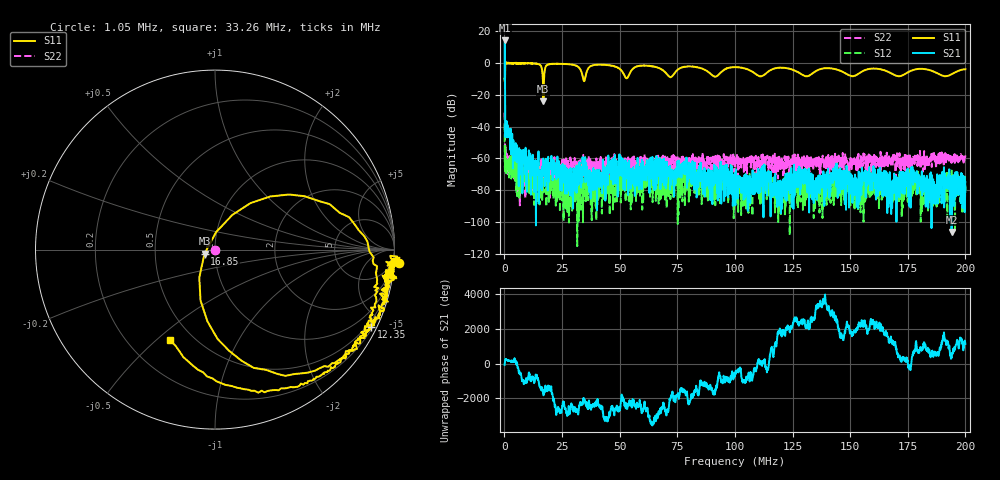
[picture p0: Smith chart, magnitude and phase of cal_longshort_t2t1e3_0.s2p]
! 26-Feb-26 1:35:02 PM
! E:\VNA_MEASUREMENTS\CAL_S11\CAL_LONGSHORT_T2T1E3_0.S2P
! CHANNEL.1
! TR.MEASUREMENT
! CORRECTED.DATA
# GHZ S RI R 50.0
! FREQ.GHZ  S11RE  S11IM  S21RE  S21IM  S12RE  S12IM  S22RE  S22IM
!; PortSelection: Port_12
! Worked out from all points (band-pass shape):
!   2000 points, 50 kHz to 200 MHz, reference 50 ohm
!   highest |S21| = 14.21 dB at 150 kHz (marker M1); lowest = -106.3 dB at 194 MHz (marker M2)
!   |S21| within 3 dB of the highest: 137.7 kHz to 160 kHz (22.24 kHz wide, 14.9 % of centre)
!   lowest |S11| = -24.1 dB at 16.85 MHz (marker M3), VSWR 1.13, Z = 44.5 - j1.96 ohm
!   |S11| at or under -10 dB: 61.86 kHz to 219.2 kHz (157.3 kHz wide, 112 % of centre); 16.63 MHz to 17.15 MHz (514.9 kHz wide, 3.05 % of centre); 34.21 MHz to 34.92 MHz (713.4 kHz wide, 2.06 % of centre)
!   |S22| runs from -89.5 to -31.2 dB; largest |S21 - S12| = 5.1
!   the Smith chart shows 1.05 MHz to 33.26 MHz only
!   S11 on the Smith chart (normalised r, x): 1.05 MHz: -10, -24; 12.35 MHz: 0.27, -4.24; 16.85 MHz: 0.89, -0.04; 33.26 MHz: 0.37, -0.55
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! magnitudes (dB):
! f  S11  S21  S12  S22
! 50 kHz  -9.8  -10.2  -38.5  -31.2
! 150 kHz  -11.7  14.2  -66.3  -44.7
! 1.05 MHz  0.2  -39.5  -62.7  -59.3
! 3.451 MHz  -0.3  -52.6  -66.9  -63.7
! 6.752 MHz  -0.3  -66.0  -81.4  -60.1
! 12.35 MHz  -0.2  -70.8  -82.9  -64.2
! 16.85 MHz  -24.1  -60.0  -73.3  -65.3
! 19.15 MHz  -0.8  -65.2  -87.0  -63.7
! 28.86 MHz  -0.9  -70.4  -82.8  -60.9
! 33.26 MHz  -5.0  -78.3  -77.4  -64.5
! 33.46 MHz  -5.8  -67.0  -71.9  -65.8
! 39.66 MHz  -1.1  -76.3  -80.9  -65.6
! 50.46 MHz  -4.3  -66.9  -87.7  -60.4
! 55.66 MHz  -3.7  -72.7  -75.7  -65.9
! 66.77 MHz  -3.0  -62.3  -68.2  -63.5
! 91.47 MHz  -8.6  -75.4  -89.4  -58.4
! 100.1 MHz  -2.5  -69.5  -88.5  -61.9
! 133.4 MHz  -6.8  -81.8  -81.7  -64.5
! 143.5 MHz  -3.8  -65.9  -80.0  -57.0
! 166.7 MHz  -5.6  -71.3  -75.8  -62.1
! 194 MHz  -7.0  -106.3  -68.9  -62.8
! 200 MHz  -3.9  -80.9  -77.3  -57.7
